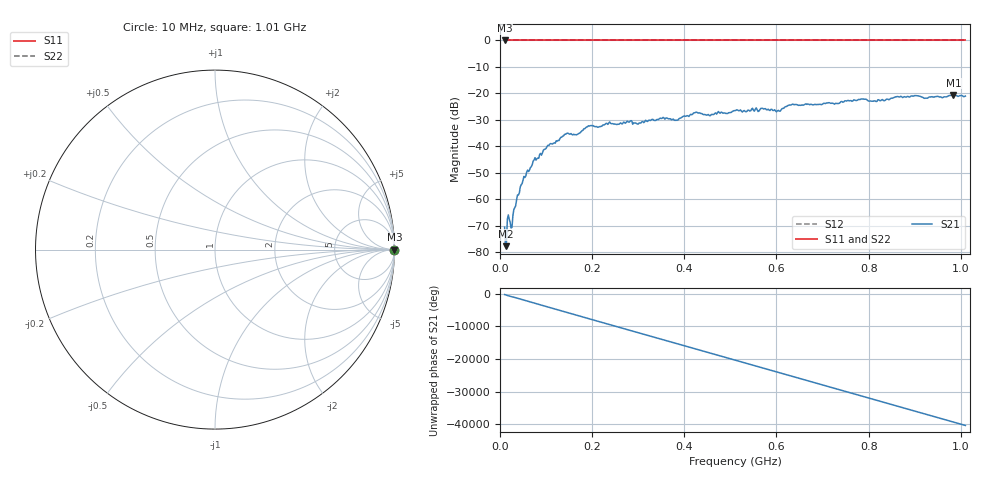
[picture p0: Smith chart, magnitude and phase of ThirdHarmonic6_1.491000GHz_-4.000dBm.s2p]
! 8/16/2025 5:28:05 PM
! C:\ANRITSUVNA\TEMP\TEMP.S2P
! CHANNEL.1
! TR.MEASUREMENT
! RAW.DATA
! RF.CORRECTION.OFF
! AVERAGING.OFF
! IF.BANDWIDTH: 5KHZ
! SWEEPTYPE:  FREQ.SWEEP(Linear)
! Reference Plane Port Info
! PORT:  PORT1  PORT2
! DISTANCE:  0  m  0  m
! TIME:  0  s  0  s
! PHASE.OFFSET:  0  deg.  0  deg.
! LOSS:  0  dB  0  dB
! REF.LOSS:  0  dB  0  dB
! REF.FREQ:  0  Hz  0  Hz
! Power Info
! POWER:  -20  dBm  -20  dBm
! EFF.POWER:  -20  dBm  -20  dBm
! SOURCE.ATTEN:  0  dB  0  dB
! TEST.ATTEN:  0  dB  0  dB
# GHZ S RI R 50.0
! FREQ.GHZ  S11RE  S11IM  S21RE  S21IM  S12RE  S12IM  S22RE  S22IM
!; PortSelection: Port_12
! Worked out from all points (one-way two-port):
!   501 points, 10 MHz to 1.01 GHz, reference 50 ohm
!   highest |S21| = -20.60 dB at 984 MHz (marker M1); lowest = -77.8 dB at 12 MHz (marker M2)
!   lowest |S11| = 0.0 dB at 10 MHz (marker M3)
!   |S11| at or under -10 dB: nowhere
!   |S22| runs from 0.0 to 0.0 dB; largest |S21 - S12| = 1.1
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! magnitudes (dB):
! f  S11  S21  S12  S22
! 10 MHz  0.0  -70.6  0.0  0.0
! 12 MHz  0.0  -77.8  0.0  0.0
! 20 MHz  0.0  -67.5  0.0  0.0
! 26 MHz  0.0  -70.7  0.0  0.0
! 34 MHz  0.0  -62.5  0.0  0.0
! 48 MHz  0.0  -54.2  0.0  0.0
! 74 MHz  0.0  -45.2  0.0  0.0
! 106 MHz  0.0  -39.7  0.0  0.0
! 142 MHz  0.0  -35.5  0.0  0.0
! 178 MHz  0.0  -34.2  0.0  0.0
! 196 MHz  0.0  -32.2  0.0  0.0
! 344 MHz  0.0  -29.9  0.0  0.0
! 382 MHz  0.0  -30.1  0.0  0.0
! 424 MHz  0.0  -27.3  0.0  0.0
! 452 MHz  0.0  -28.0  0.0  0.0
! 510 MHz  0.0  -26.6  0.0  0.0
! 604 MHz  0.0  -26.4  0.0  0.0
! 632 MHz  0.0  -24.4  0.0  0.0
! 678 MHz  0.0  -24.3  0.0  0.0
! 844 MHz  0.0  -22.4  0.0  0.0
! 984 MHz  0.0  -20.6  0.0  0.0
! 1.01 GHz  0.0  -21.0  0.0  0.0
